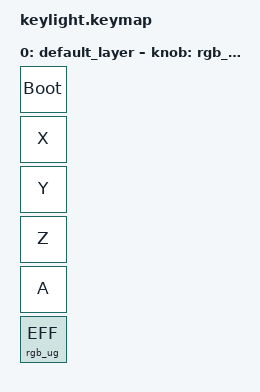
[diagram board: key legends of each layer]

#include <behaviors.dtsi>
#include <dt-bindings/zmk/keys.h>
#include <dt-bindings/zmk/bt.h>
#include <dt-bindings/zmk/rgb.h>

/ {
    behaviors {
        rgb_encoder_hu: rgb_encoder_hu {
            compatible = "zmk,behavior-sensor-rotate";
            #sensor-binding-cells = <0>;
            bindings = <&kp C_VOL_UP>, <&kp C_VOL_DN>;
        };

        rgb_encoder_sa: rgb_encoder_sa {
            compatible = "zmk,behavior-sensor-rotate";
            #sensor-binding-cells = <0>;
            bindings = <&kp PG_UP>, <&kp PG_DN>;
        };
    };
    keymap {
        compatible = "zmk,keymap";

        default_layer {
            bindings = <
                &bootloader
                &kp X
                &kp Y
                &kp Z
                &kp A
                &rgb_ug RGB_EFF
            >;

            sensor-bindings = <&rgb_encoder_hu &rgb_encoder_sa>;
        };
    };
};
